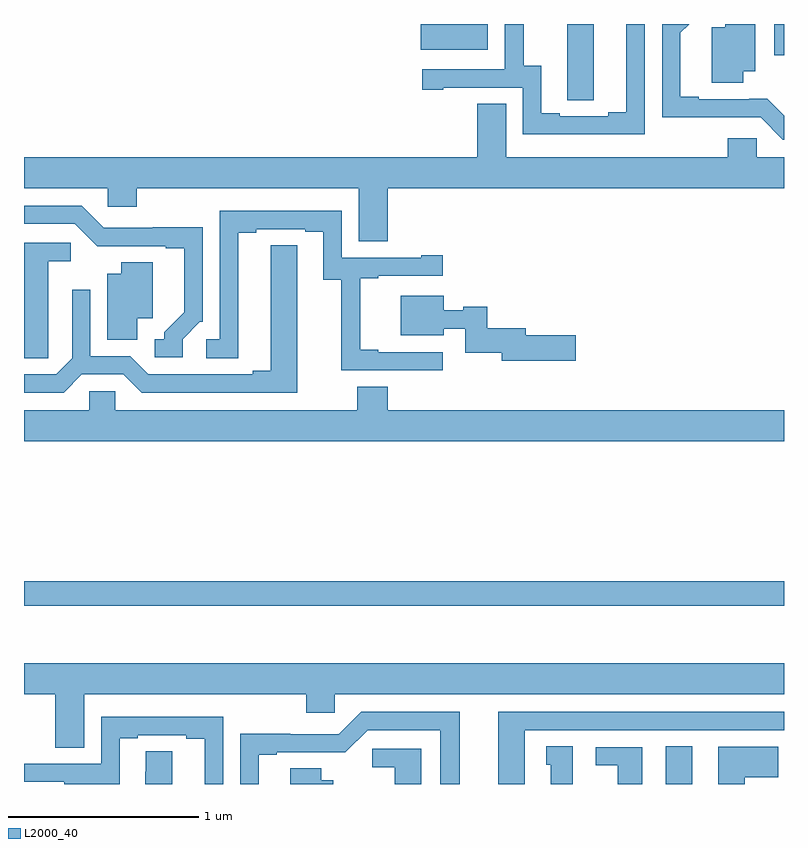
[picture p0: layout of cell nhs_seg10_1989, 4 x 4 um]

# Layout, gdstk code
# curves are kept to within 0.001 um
import gdstk
lib = gdstk.Library(unit=1e-6, precision=1e-09)
def R(c, l, rs):  # rectangles x0, y0, x1, y1
    for r in rs: c.add(gdstk.rectangle(r[:2], r[2:], *l))
def P(c, l, *ps):  # polygons
    for p in ps: c.add(gdstk.Polygon(p, *l))
L2000_40 = (2000, 40)

nhs_seg10_1989 = lib.new_cell('nhs_seg10_1989')
R(nhs_seg10_1989, L2000_40, [(218.378,1310.5,218.518,1310.699), (215,1311.438,219,1311.566), (218.949,1314.336,219,1314.5), (217.088,1314.365,217.441,1314.5)])
P(nhs_seg10_1989, L2000_40, [(219,1314.018),(218.912,1314.106),(218.551,1314.105),(218.551,1314.118),(218.455,1314.118),(218.455,1314.454),(218.501,1314.5),(218.358,1314.5),(218.358,1314.008),(218.877,1314.009),(218.994,1313.892),(219,1313.892)],
  [(217.999,1314.5),(217.859,1314.5),(217.859,1314.208),(217.86,1314.208),(217.86,1314.1),(217.999,1314.1)],
  [(218.785,1314.251),(218.848,1314.251),(218.848,1314.5),(218.69,1314.5),(218.69,1314.484),(218.621,1314.484),(218.621,1314.19),(218.785,1314.19)],
  [(218.268,1314.5),(218.171,1314.5),(218.171,1314.035),(218.075,1314.035),(218.075,1314.015),(217.819,1314.015),(217.819,1314.03),(217.723,1314.03),(217.723,1314.281),(217.629,1314.281),(217.629,1314.5),(217.53,1314.5),(217.53,1314.261),(217.095,1314.261),(217.095,1314.153),(217.207,1314.153),(217.207,1314.165),(217.626,1314.165),(217.626,1313.919),(218.268,1313.919)],
  [(216.914,1313.636),(219,1313.636),(219,1313.8),(218.856,1313.8),(218.856,1313.898),(218.705,1313.898),(218.705,1313.8),(217.537,1313.8),(217.537,1314.08),(217.385,1314.08),(217.385,1313.8),(215,1313.8),(215,1313.636),(215.442,1313.636),(215.442,1313.538),(215.594,1313.538),(215.594,1313.636),(216.761,1313.636),(216.761,1313.356),(216.914,1313.356)],
  [(215.835,1312.842),(215.925,1312.932),(215.94,1312.932),(215.94,1313.429),(215.677,1313.429),(215.677,1313.427),(215.421,1313.427),(215.304,1313.544),(215,1313.544),(215,1313.448),(215.268,1313.448),(215.386,1313.33),(215.747,1313.331),(215.747,1313.319),(215.843,1313.319),(215.843,1312.982),(215.738,1312.877),(215.738,1312.842),(215.688,1312.842),(215.688,1312.746),(215.835,1312.746)],
  [(217.204,1312.773),(216.865,1312.773),(216.865,1312.786),(216.77,1312.786),(216.77,1313.163),(216.865,1313.163),(216.865,1313.175),(217.204,1313.175),(217.204,1313.284),(217.091,1313.284),(217.091,1313.271),(216.672,1313.271),(216.672,1313.517),(216.03,1313.517),(216.03,1312.842),(215.958,1312.842),(215.958,1312.741),(216.127,1312.741),(216.127,1313.401),(216.223,1313.401),(216.223,1313.421),(216.479,1313.421),(216.479,1313.406),(216.575,1313.406),(216.575,1313.155),(216.67,1313.155),(216.67,1312.677),(217.204,1312.677)],
  [(215.127,1312.849),(215.128,1312.849),(215.128,1313.252),(215.245,1313.252),(215.245,1313.349),(215,1313.349),(215,1312.741),(215.127,1312.741)],
  [(215.305,1312.656),(215.523,1312.656),(215.619,1312.56),(216.439,1312.56),(216.438,1313.336),(216.299,1313.336),(216.299,1312.676),(216.203,1312.676),(216.203,1312.656),(215.655,1312.656),(215.559,1312.752),(215.349,1312.752),(215.349,1313.101),(215.253,1313.101),(215.253,1312.74),(215.169,1312.656),(215,1312.656),(215,1312.56),(215.209,1312.56)],
  [(215.596,1312.952),(215.677,1312.952),(215.677,1313.246),(215.513,1313.246),(215.513,1313.185),(215.438,1313.185),(215.438,1312.837),(215.596,1312.837)],
  [(217.903,1312.862),(217.642,1312.862),(217.642,1312.898),(217.439,1312.898),(217.439,1313.012),(217.311,1313.012),(217.311,1312.994),(217.21,1312.994),(217.21,1313.071),(216.983,1313.071),(216.983,1312.862),(217.21,1312.862),(217.21,1312.896),(217.323,1312.896),(217.323,1312.77),(217.514,1312.77),(217.514,1312.727),(217.903,1312.727)],
  [(219,1312.468),(216.914,1312.468),(216.914,1312.592),(216.754,1312.592),(216.754,1312.468),(215.481,1312.468),(215.481,1312.566),(215.343,1312.566),(215.343,1312.468),(215,1312.468),(215,1312.304),(219,1312.304)],
  [(215.317,1310.972),(216.485,1310.972),(216.485,1310.874),(216.636,1310.874),(216.636,1310.972),(219,1310.972),(219,1311.136),(215,1311.136),(215,1310.972),(215.165,1310.972),(215.165,1310.692),(215.317,1310.692)],
  [(216.235,1310.655),(216.331,1310.655),(216.331,1310.667),(216.692,1310.666),(216.81,1310.784),(217.19,1310.784),(217.19,1310.5),(217.294,1310.5),(217.294,1310.88),(216.774,1310.88),(216.657,1310.763),(216.401,1310.763),(216.401,1310.765),(216.138,1310.765),(216.138,1310.5),(216.235,1310.5)],
  [(217.636,1310.784),(219,1310.784),(219,1310.88),(217.496,1310.88),(217.496,1310.5),(217.636,1310.5)],
  [(215.503,1310.742),(215.599,1310.742),(215.599,1310.757),(215.855,1310.757),(215.855,1310.737),(215.951,1310.737),(215.951,1310.5),(216.048,1310.5),(216.048,1310.853),(215.406,1310.853),(215.406,1310.607),(215,1310.607),(215,1310.511),(215.213,1310.511),(215.213,1310.5),(215.503,1310.5)],
  [(217.888,1310.699),(217.748,1310.699),(217.748,1310.601),(217.772,1310.601),(217.772,1310.5),(217.888,1310.5)],
  [(218.794,1310.536),(218.971,1310.536),(218.971,1310.695),(218.654,1310.695),(218.654,1310.5),(218.794,1310.5)],
  [(218.254,1310.694),(218.01,1310.694),(218.01,1310.598),(218.126,1310.598),(218.126,1310.5),(218.254,1310.5)],
  [(217.09,1310.685),(216.834,1310.685),(216.834,1310.588),(216.95,1310.588),(216.95,1310.5),(217.09,1310.5)],
  [(215.779,1310.672),(215.64,1310.672),(215.64,1310.564),(215.639,1310.564),(215.639,1310.5),(215.779,1310.5)],
  [(216.628,1310.521),(216.565,1310.521),(216.565,1310.582),(216.401,1310.582),(216.401,1310.5),(216.628,1310.5)])

lib.write_gds('nhs_seg10_1989.gds')
